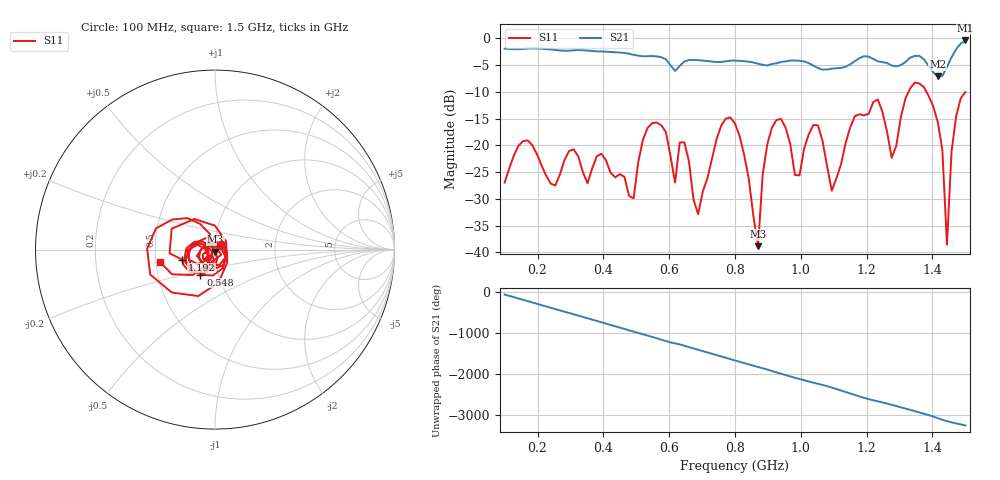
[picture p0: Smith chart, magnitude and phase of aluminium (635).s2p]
! NanoVNA-App
! Date: 2025-09-25 15:00:13
! Start: 100MHz Stop: 1,5GHz Points: 101
! S-Parameter data: F S11 S21 S12 S22
# Hz S RI R 50
!  Frequency  S11_Real  S11_Imag  S21_Real  S21_Imag  S12_Real  S12_Imag  S22_Real  S22_Imag
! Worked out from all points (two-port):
!   101 points, 100 MHz to 1.5 GHz, reference 50 ohm
!   highest |S21| = -0.39 dB at 1.5 GHz (marker M1); lowest = -7.1 dB at 1.416 GHz (marker M2)
!   |S21| within 3 dB of the highest: start of sweep to 564.4 MHz; 1.459 GHz to end of sweep (the widest 2 of 4)
!   lowest |S11| = -38.8 dB at 870 MHz (marker M3), VSWR 1.02, Z = 50.2 - j1.13 ohm
!   |S11| at or under -10 dB: start of sweep to 1.327 GHz; 1.382 GHz to end of sweep
!   S12 and S22 are empty: the file has one direction only
!   S11 on the Smith chart (normalised r, x): 100 MHz: 1.07, +0.06; 548 MHz: 0.82, -0.24; 1.192 GHz: 0.69, -0.08; 1.5 GHz: 0.53, -0.08
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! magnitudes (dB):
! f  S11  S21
! 100 MHz  -27.0  -1.9
! 156 MHz  -19.2  -2.0
! 338 MHz  -25.0  -2.2
! 492 MHz  -29.9  -3.1
! 548 MHz  -15.8  -3.3
! 576 MHz  -16.2  -3.5
! 618 MHz  -27.0  -6.1
! 646 MHz  -19.4  -4.3
! 688 MHz  -32.9  -4.1
! 800 MHz  -15.9  -4.1
! 870 MHz  -38.8  -4.7
! 912 MHz  -16.7  -4.8
! 996 MHz  -25.6  -4.2
! 1.038 GHz  -16.2  -5.1
! 1.094 GHz  -28.5  -5.7
! 1.192 GHz  -14.4  -3.3
! 1.276 GHz  -22.3  -5.1
! 1.346 GHz  -8.3  -3.3
! 1.416 GHz  -15.6  -7.1
! 1.444 GHz  -38.6  -5.4
! 1.458 GHz  -21.1  -3.5
! 1.5 GHz  -10.0  -0.4
